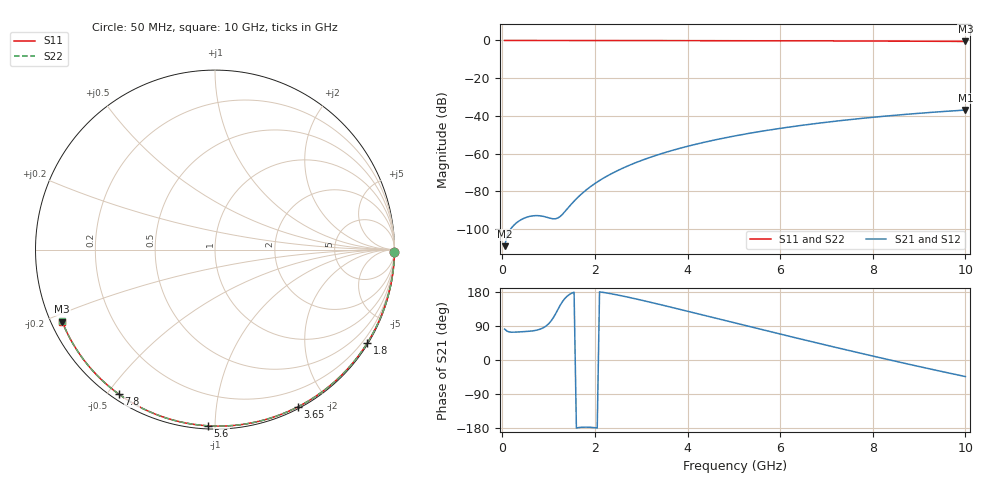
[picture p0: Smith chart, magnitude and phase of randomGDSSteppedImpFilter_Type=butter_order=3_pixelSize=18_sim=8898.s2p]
! freq	dB(S11)	phase(S11)	dB(S12)	phase(S12)
!  dB(S21)	phase(S21)	dB(S22)	phase(S22)
!S-par simulation data
#  GHz  S  DB  R 50
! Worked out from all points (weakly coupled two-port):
!   200 points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, 50 MHz to 10 GHz, reference 50 ohm
!   highest |S21| = -36.87 dB at 10 GHz (marker M1); lowest = -109.0 dB at 50 MHz (marker M2)
!   lowest |S11| = -0.5 dB at 10 GHz (marker M3), VSWR 33.08, Z = 1.59 - j11.2 ohm
!   |S11| at or under -10 dB: nowhere
!   |S22| runs from -0.5 to 0.0 dB; largest |S21 - S12| = 0
!   S11 on the Smith chart (normalised r, x): 50 MHz: open; 1.8 GHz: 0.03, -3.54; 3.65 GHz: 0.02, -1.66; 5.6 GHz: 0.02, -0.96; 7.8 GHz: 0.02, -0.54; 10 GHz: 0.03, -0.22
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0.05  -0.00 -0.9  -109.02 81.6  -109.02 81.6  -0.00 -0.9
0.45  -0.01 -8.0  -94.44 74.7  -94.44 74.7  -0.01 -8.0
0.85  -0.02 -15.1  -93.06 83.0  -93.06 83.0  -0.02 -15.1
1.3  -0.03 -22.9  -92.12 154.2  -92.12 154.2  -0.03 -22.9
1.75  -0.04 -30.7  -80.49 -177.2  -80.49 -177.2  -0.04 -30.7
1.8  -0.04 -31.5  -79.46 -177.1  -79.46 -177.1  -0.04 -31.6
1.95  -0.04 -34.1  -76.67 -178.1  -76.67 -178.1  -0.04 -34.1
2.1  -0.05 -36.6  -74.22 179.8  -74.22 179.8  -0.05 -36.7
2.45  -0.05 -42.6  -69.44 172.5  -69.44 172.5  -0.05 -42.6
2.9  -0.06 -50.0  -64.58 160.8  -64.58 160.8  -0.06 -50.1
3.4  -0.08 -58.2  -60.26 146.5  -60.26 146.5  -0.08 -58.3
3.65  -0.08 -62.2  -58.42 139.2  -58.42 139.2  -0.08 -62.3
4.3  -0.10 -72.5  -54.29 119.6  -54.29 119.6  -0.10 -72.6
5.05  -0.13 -84.0  -50.46 97.0  -50.46 97.0  -0.13 -84.1
5.6  -0.15 -92.2  -48.11 80.4  -48.11 80.4  -0.15 -92.3
6.15  -0.18 -100.3  -46.05 64.0  -46.05 64.0  -0.18 -100.3
6.7  -0.21 -108.2  -44.24 47.8  -44.24 47.8  -0.21 -108.2
7.25  -0.25 -115.9  -42.63 31.8  -42.63 31.8  -0.25 -116.0
7.8  -0.29 -123.7  -41.20 16.1  -41.20 16.1  -0.29 -123.8
8.35  -0.34 -131.3  -39.93 0.6  -39.93 0.6  -0.34 -131.4
9.2  -0.43 -143.3  -38.22 -22.6  -38.22 -22.6  -0.43 -143.4
10  -0.53 -154.7  -36.87 -43.7  -36.87 -43.7  -0.53 -154.9
